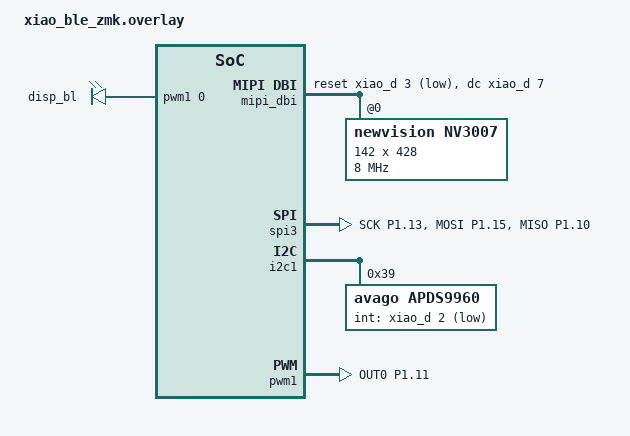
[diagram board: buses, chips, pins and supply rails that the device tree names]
/ {
   pwmleds {
      compatible = "pwm-leds";
      disp_bl: pwm_led_1 {
          pwms = <&pwm1 0 PWM_MSEC(1) PWM_POLARITY_NORMAL>;
      };
  };
};

&spi2 {
   status = "disabled";
};

&pinctrl {
   spi3_default: spi3_default {
		group1 {
			psels = <NRF_PSEL(SPIM_SCK, 1, 13)>,
				<NRF_PSEL(SPIM_MOSI, 1, 15)>,
				<NRF_PSEL(SPIM_MISO, 1, 10)>;
		};
	};

	spi3_sleep: spi3_sleep {
		group1 {
			psels = <NRF_PSEL(SPIM_SCK, 1, 13)>,
				<NRF_PSEL(SPIM_MOSI, 1, 15)>,
				<NRF_PSEL(SPIM_MISO, 1, 10)>;
			low-power-enable;
		};
	};

   pwm1_default: pwm1_default {
      group1 {
         psels = <NRF_PSEL(PWM_OUT0, 1, 11)>;
         nordic,invert;
      };
   };

   pwm1_sleep: pwm1_sleep {
      group1 {
         psels = <NRF_PSEL(PWM_OUT0, 1, 11)>;
         low-power-enable;
      };
   };
};

disp_spi: &spi3 {
   status = "okay";
   pinctrl-0 = <&spi3_default>;
	pinctrl-1 = <&spi3_sleep>;
	pinctrl-names = "default", "sleep";
   cs-gpios = <&xiao_d 9 GPIO_ACTIVE_LOW>;
};

/ {
   mipi_dbi {
       compatible = "zephyr,mipi-dbi-spi";
       spi-dev = <&spi3>;
       dc-gpios = <&xiao_d 7 GPIO_ACTIVE_HIGH>;
       reset-gpios = <&xiao_d 3 GPIO_ACTIVE_LOW>;
       write-only;
       #address-cells = <1>;
       #size-cells = <0>;

       nv3007: nv3007@0 {
           compatible = "newvision,nv3007";
           reg = <0>;
           /* nrfx rounds this down to a supported SPIM rate (8/16/32 MHz). The ST7789
            * config asked for 30 MHz and actually ran at 16 MHz; 32 MHz corrupts the
            * pixel stream over jumper wires, so start at 8 MHz and raise it once the
            * panel is proven.
            */
           mipi-max-frequency = <8000000>;
           mipi-mode = "MIPI_DBI_MODE_SPI_4WIRE";
           /* Native 142x428 portrait window of the 2.79in NV3007 panel;
            * display_rotate_init.c rotates it to a 428x142 landscape canvas.
            * The glass sits 12 columns into the 168-column frame memory.
            */
           width = <142>;
           height = <428>;
           x-offset = <12>;
           y-offset = <0>;
       };
   };
};

&i2c1 {
   status = "okay";

   apds9960: apds9960@39 {
       compatible = "avago,apds9960";
       status = "okay";
       reg = <0x39>;
       int-gpios = <&xiao_d 2 (GPIO_ACTIVE_LOW | GPIO_PULL_UP)>;
   };
};

&pwm1 {
  status = "okay";
  pinctrl-0 = <&pwm1_default>;
  pinctrl-1 = <&pwm1_sleep>;
  pinctrl-names = "default", "sleep";
};
